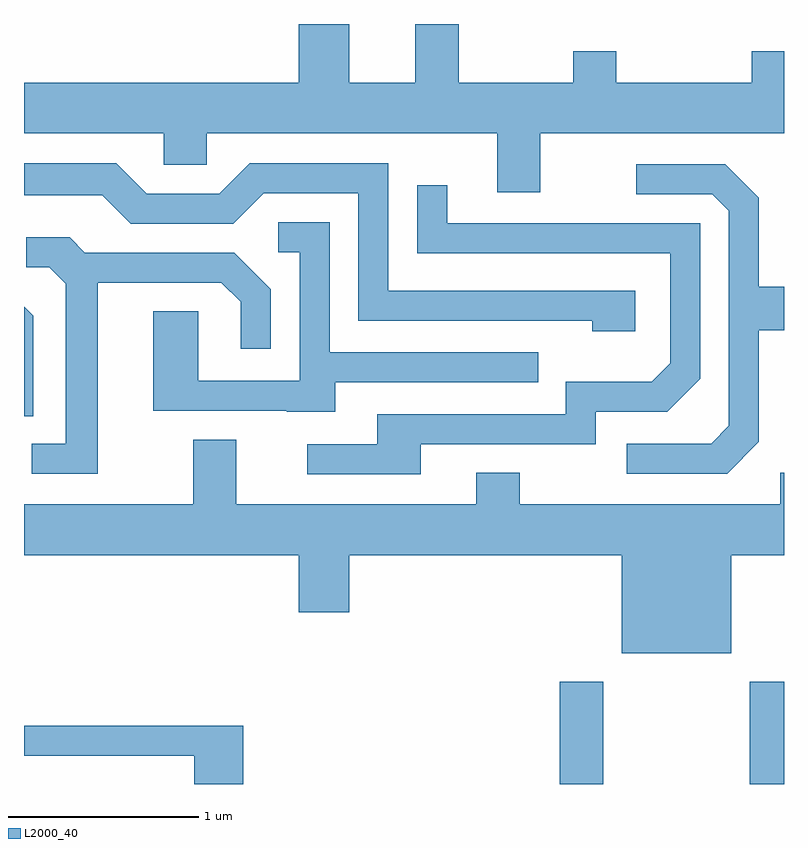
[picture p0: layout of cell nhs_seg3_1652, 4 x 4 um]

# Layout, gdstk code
import gdstk
lib = gdstk.Library(unit=1e-6, precision=1e-09)
def R(c, l, rs):  # rectangles x0, y0, x1, y1
    for r in rs: c.add(gdstk.rectangle(r[:2], r[2:], *l))
def P(c, l, *ps):  # polygons
    for p in ps: c.add(gdstk.Polygon(p, *l))
L2000_40 = (2000, 40)

nhs_seg3_1652 = lib.new_cell('nhs_seg3_1652')
R(nhs_seg3_1652, L2000_40, [(236.431,1155.892,236.659,1156.429), (237.431,1155.892,237.611,1156.429)])
P(nhs_seg3_1652, L2000_40, [(236.329,1159.316),(237.611,1159.316),(237.611,1159.749),(237.441,1159.749),(237.441,1159.584),(236.729,1159.584),(236.729,1159.749),(236.501,1159.749),(236.501,1159.584),(235.899,1159.584),(235.899,1159.892),(235.671,1159.892),(235.671,1159.584),(235.324,1159.584),(235.324,1159.892),(235.056,1159.892),(235.056,1159.584),(233.611,1159.584),(233.611,1159.316),(234.346,1159.316),(234.346,1159.151),(234.574,1159.151),(234.574,1159.316),(236.101,1159.316),(236.101,1159.006),(236.329,1159.006)],
  [(236.829,1158.489),(235.529,1158.489),(235.529,1159.159),(234.799,1159.159),(234.639,1158.999),(234.257,1158.999),(234.097,1159.159),(233.611,1159.159),(233.611,1158.991),(234.024,1158.991),(234.174,1158.841),(234.712,1158.841),(234.872,1159.001),(235.371,1159.001),(235.371,1158.331),(236.601,1158.331),(236.601,1158.276),(236.829,1158.276)],
  [(237.479,1157.694),(237.479,1158.281),(237.611,1158.281),(237.611,1158.509),(237.479,1158.509),(237.479,1158.977),(237.302,1159.154),(236.833,1159.154),(236.833,1158.996),(237.234,1158.996),(237.321,1158.909),(237.321,1157.777),(237.229,1157.684),(236.783,1157.684),(236.783,1157.526),(237.312,1157.526)],
  [(235.699,1157.681),(236.619,1157.681),(236.619,1157.851),(236.997,1157.851),(237.169,1158.024),(237.169,1158.844),(235.839,1158.844),(235.839,1159.043),(235.681,1159.043),(235.681,1158.686),(237.011,1158.686),(237.011,1158.107),(236.914,1158.009),(236.461,1158.009),(236.461,1157.839),(235.471,1157.839),(235.471,1157.679),(235.103,1157.679),(235.103,1157.521),(235.699,1157.521)],
  [(235.249,1158.006),(236.318,1158.006),(236.318,1158.164),(235.219,1158.164),(235.219,1158.849),(234.948,1158.849),(234.948,1158.691),(235.061,1158.691),(235.061,1158.014),(234.529,1158.014),(234.529,1158.379),(234.291,1158.379),(234.291,1157.856),(234.995,1157.856),(234.995,1157.851),(235.249,1157.851)],
  [(233.999,1158.531),(234.649,1158.531),(234.751,1158.429),(234.751,1158.183),(234.909,1158.183),(234.909,1158.497),(234.717,1158.689),(233.932,1158.689),(233.852,1158.769),(233.623,1158.769),(233.623,1158.611),(233.744,1158.611),(233.831,1158.524),(233.831,1157.684),(233.653,1157.684),(233.653,1157.526),(233.999,1157.526)],
  [(233.659,1158.357),(233.611,1158.405),(233.611,1157.828),(233.659,1157.828)],
  [(237.334,1157.096),(237.611,1157.096),(237.611,1157.529),(237.591,1157.529),(237.591,1157.364),(236.219,1157.364),(236.219,1157.529),(235.991,1157.529),(235.991,1157.364),(234.729,1157.364),(234.729,1157.704),(234.501,1157.704),(234.501,1157.364),(233.611,1157.364),(233.611,1157.096),(235.056,1157.096),(235.056,1156.796),(235.324,1156.796),(235.324,1157.096),(236.756,1157.096),(236.756,1156.581),(237.334,1156.581)],
  [(234.764,1156.199),(233.611,1156.199),(233.611,1156.041),(234.506,1156.041),(234.506,1155.892),(234.764,1155.892)])

lib.write_gds('nhs_seg3_1652.gds')
